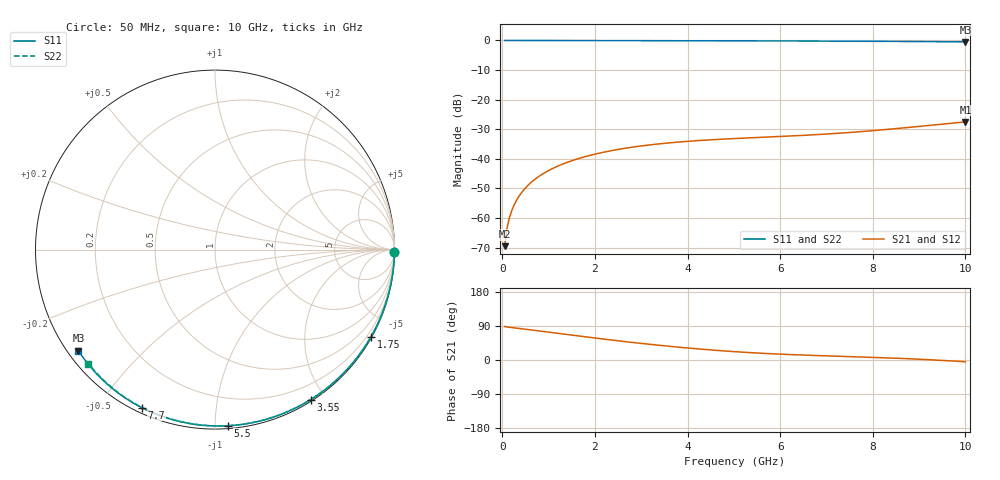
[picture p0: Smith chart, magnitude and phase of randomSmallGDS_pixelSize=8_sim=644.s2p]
! freq	dB(S11)	phase(S11)	dB(S12)	phase(S12)
!  dB(S21)	phase(S21)	dB(S22)	phase(S22)
!S-par simulation data
#  GHz  S  DB  R 50
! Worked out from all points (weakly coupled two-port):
!   200 points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, 50 MHz to 10 GHz, reference 50 ohm
!   highest |S21| = -27.51 dB at 10 GHz (marker M1); lowest = -69.5 dB at 50 MHz (marker M2)
!   lowest |S11| = -0.5 dB at 10 GHz (marker M3), VSWR 36.52, Z = 1.52 - j16.5 ohm
!   |S11| at or under -10 dB: nowhere
!   |S22| runs from -0.5 to 0.0 dB; largest |S21 - S12| = 0
!   S11 on the Smith chart (normalised r, x): 50 MHz: open; 1.75 GHz: 0.03, -3.85; 3.55 GHz: 0.02, -1.82; 5.5 GHz: 0.02, -1.08; 7.7 GHz: 0.02, -0.64; 10 GHz: 0.03, -0.33
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0.05  -0.00 -0.8  -69.49 88.3  -69.49 88.3  -0.00 -0.8
0.1  -0.00 -1.7  -63.56 87.2  -63.56 87.2  -0.00 -1.6
0.15  -0.00 -2.5  -60.12 86.3  -60.12 86.3  -0.00 -2.4
0.2  -0.00 -3.4  -57.67 85.6  -57.67 85.6  -0.00 -3.3
0.25  -0.00 -4.2  -55.76 84.9  -55.76 84.9  -0.00 -4.1
0.35  -0.00 -5.9  -52.88 83.5  -52.88 83.5  -0.00 -5.7
0.5  -0.01 -8.4  -49.82 81.2  -49.82 81.2  -0.01 -8.1
0.7  -0.01 -11.8  -46.95 78.1  -46.95 78.1  -0.01 -11.3
1  -0.02 -16.8  -43.94 73.4  -43.94 73.4  -0.02 -16.1
1.35  -0.03 -22.6  -41.47 67.9  -41.47 67.9  -0.03 -21.7
1.75  -0.04 -29.1  -39.42 61.7  -39.42 61.7  -0.04 -28.0
2.5  -0.05 -41.2  -36.81 50.6  -36.81 50.6  -0.05 -39.6
3.4  -0.07 -55.2  -34.91 38.6  -34.91 38.6  -0.07 -53.2
3.55  -0.08 -57.5  -34.67 36.8  -34.67 36.8  -0.07 -55.4
4.3  -0.10 -68.7  -33.75 28.5  -33.75 28.5  -0.09 -66.2
5.05  -0.12 -79.5  -33.11 21.7  -33.11 21.7  -0.12 -76.6
5.5  -0.14 -85.8  -32.79 18.4  -32.79 18.4  -0.13 -82.7
6.7  -0.20 -102.0  -31.89 12.2  -31.89 12.2  -0.19 -98.3
7.7  -0.26 -114.9  -30.85 8.3  -30.85 8.3  -0.25 -110.7
8.35  -0.31 -123.1  -29.99 5.6  -29.99 5.6  -0.30 -118.6
9.2  -0.39 -133.6  -28.74 0.9  -28.74 0.9  -0.37 -128.6
10  -0.48 -143.5  -27.51 -4.6  -27.51 -4.6  -0.46 -138.0
